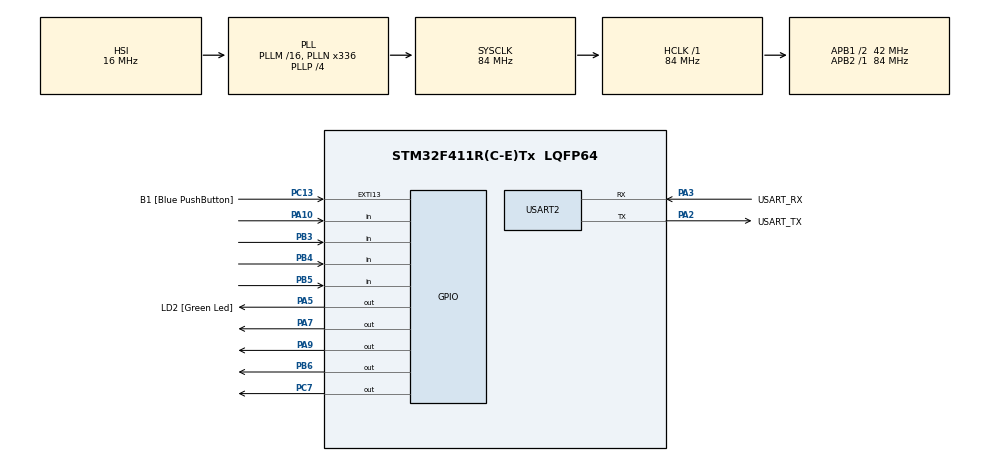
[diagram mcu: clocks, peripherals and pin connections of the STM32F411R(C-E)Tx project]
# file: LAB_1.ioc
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Mcu.Family=STM32F4
Mcu.Name=STM32F411R(C-E)Tx
Mcu.Package=LQFP64
NVIC.PriorityGroup=NVIC_PRIORITYGROUP_0
PA10.Signal=GPIO_Input
PA13.GPIO_Label=TMS
PA13.Mode=Serial_Wire
PA13.Signal=SYS_JTMS-SWDIO
PA14.GPIO_Label=TCK
PA14.Mode=Serial_Wire
PA14.Signal=SYS_JTCK-SWCLK
PA2.GPIO_Label=USART_TX
PA2.Mode=Asynchronous
PA2.Signal=USART2_TX
PA3.GPIO_Label=USART_RX
PA3.Mode=Asynchronous
PA3.Signal=USART2_RX
PA5.GPIO_Label=LD2 [Green Led]
PA5.Signal=GPIO_Output
PA7.Signal=GPIO_Output
PA9.Signal=GPIO_Output
PB3.Signal=GPIO_Input
PB4.Signal=GPIO_Input
PB5.Signal=GPIO_Input
PB6.Signal=GPIO_Output
PC13-ANTI_TAMP.GPIO_Label=B1 [Blue PushButton]
PC13-ANTI_TAMP.GPIO_ModeDefaultEXTI=GPIO_MODE_IT_FALLING
PC13-ANTI_TAMP.Signal=GPXTI13
PC14-OSC32_IN.Mode=LSE-External-Oscillator
PC14-OSC32_IN.Signal=RCC_OSC32_IN
PC15-OSC32_OUT.Mode=LSE-External-Oscillator
PC15-OSC32_OUT.Signal=RCC_OSC32_OUT
PC7.Signal=GPIO_Output
PH0\ -\ OSC_IN.Mode=HSE-External-Clock-Source
PH0\ -\ OSC_IN.Signal=RCC_OSC_IN
PH1\ -\ OSC_OUT.Mode=HSE-External-Clock-Source
PH1\ -\ OSC_OUT.Signal=RCC_OSC_OUT
ProjectManager.HeapSize=0x200
ProjectManager.StackSize=0x400
ProjectManager.TargetToolchain=STM32CubeIDE
RCC.48MHZClocksFreq_Value=84000000
RCC.AHBFreq_Value=84000000
RCC.APB1CLKDivider=RCC_HCLK_DIV2
RCC.APB1Freq_Value=42000000
RCC.APB1TimFreq_Value=84000000
RCC.APB2Freq_Value=84000000
RCC.APB2TimFreq_Value=84000000
RCC.CortexFreq_Value=84000000
RCC.FLatency-AdvancedSettings=FLASH_LATENCY_2
RCC.HCLKFreq_Value=84000000
RCC.HSE_VALUE=8000000
RCC.HSI_VALUE=16000000
RCC.PLLN=336
RCC.PLLP=RCC_PLLP_DIV4
RCC.SYSCLKFreq_VALUE=84000000
RCC.SYSCLKSource=RCC_SYSCLKSOURCE_PLLCLK
RCC.VCOOutputFreq_Value=336000000
USART2.VirtualMode=VM_ASYNC
board=NUCLEO-F411RE

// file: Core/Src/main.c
/* USER CODE BEGIN Header */
/**
  ******************************************************************************
  * @file           : main.c
  * @brief          : Main program body
  ******************************************************************************
  * @attention
  *
  * <h2><center>&copy; Copyright (c) 2021 STMicroelectronics.
  * All rights reserved.</center></h2>
  *
  * This software component is licensed by ST under BSD 3-Clause license,
  * the "License"; You may not use this file except in compliance with the
  * License. You may obtain a copy of the License at:
  *                        opensource.org/licenses/BSD-3-Clause
  *
  ******************************************************************************
  */
/* USER CODE END Header */
#include "main.h"

UART_HandleTypeDef huart2;

void SystemClock_Config(void);
static void MX_GPIO_Init(void);
static void MX_USART2_UART_Init(void);

int main(void)
{

  /* MCU Configuration--------------------------------------------------------*/

  /* Reset of all peripherals, Initializes the Flash interface and the Systick. */
  HAL_Init();

  /* Configure the system clock */
  SystemClock_Config();

  /* Initialize all configured peripherals */
  MX_GPIO_Init();
  MX_USART2_UART_Init();
  /* USER CODE BEGIN 2 */
  GPIO_PinState SwitchState_S1[2] ;
  GPIO_PinState SwitchState_S2[2] ;
  GPIO_PinState SwitchSTate_S3[2] ;
  uint16_t LED_D1	= 0 ;
  uint32_t TimeStamp = 0 ;
  uint32_t ButtonTimestamp = 0;
  uint32_t TimeStamp_on = 0 ;
  //uint32_t TimeStamp_off = 0;
  uint8_t	counte = 1 ;
  uint16_t LED2 = 0;
  uint32_t on = 500 ;
  uint32_t off = 1500;
  uint16_t state= 1 ;
  int b = 0 ;

  /* USER CODE END 2 */

  /* Infinite loop */
  /* USER CODE BEGIN WHILE */
  while (1)
  {
	  //HAL_GPIO_WritePin(GPIOB, GPIO_PIN_6, GPIO_PIN_SET);
	  //b = HAL_GPIO_ReadPin(GPIOB, GPIO_PIN_6) ;
	  //if(HAL_GPIO_ReadPin(GPIOB, GPIO_PIN_6) == GPIO_PIN_SET){HAL_GPIO_WritePin(GPIOB, GPIO_PIN_6, GPIO_PIN_RESET);}
	  //if(HAL_GPIO_ReadPin(GPIOA, GPIO_PIN_7) == GPIO_PIN_RESET){HAL_GPIO_WritePin(GPIOA, GPIO_PIN_7, GPIO_PIN_RESET);}
	  if(HAL_GetTick() - ButtonTimestamp >= 100 )
	  {
		  ButtonTimestamp = HAL_GetTick() ;
		  SwitchState_S1[0] = HAL_GPIO_ReadPin(GPIOA, GPIO_PIN_10); //D1 TAsk 1
		  SwitchState_S2[0] = HAL_GPIO_ReadPin(GPIOB, GPIO_PIN_3);
		  SwitchSTate_S3[0] = HAL_GPIO_ReadPin(GPIOB, GPIO_PIN_5);

		  if(SwitchState_S1[1] == GPIO_PIN_SET && SwitchState_S1[0] == GPIO_PIN_RESET) //ขอบขาขึ้น
		  {
			 if(counte >= 1 && counte < 4){ counte += 1; }
			 else{counte = 1;}
		  }
		  SwitchState_S1[1] = SwitchState_S1[0]; //save state

		  if(SwitchState_S2[1] == GPIO_PIN_SET && SwitchState_S2[0] == GPIO_PIN_RESET) //ชาชี้น S2 TAsk 2
		 	  {

			  	  if(LED2 == 1) {LED2 = 0 ;}
			  	  else{LED2 = 1 ;}
		 	  }
		  SwitchState_S2[1] = SwitchState_S2[0] ;

		  if(SwitchSTate_S3[1] == GPIO_PIN_SET && SwitchSTate_S3[0] == GPIO_PIN_RESET)
		  {
			  if(on == 500 && off == 1500)
			  {
				  on =1500 ;
				  off = 500 ;

			  }
			  else
			  {
				  on = 500 ;
				  off = 1500 ;

			  }
		  }
		  SwitchSTate_S3[1] = SwitchSTate_S3[0] ;
	  }
	  switch (counte)
	  {
		case 1:
			LED_D1 = 1000 ;
			break;
		case 2 :
			LED_D1 = 500 ;
			break;
		case 3 :
			LED_D1 = 250 ;
			break;
		case 4 :
			LED_D1 = 166.666 ;
			break;
	  }
	  if(HAL_GetTick() - TimeStamp >= LED_D1)
	  {
		  TimeStamp = HAL_GetTick() ;
		  if(HAL_GPIO_ReadPin(GPIOA, GPIO_PIN_9) == GPIO_PIN_SET)
		  {
			  HAL_GPIO_WritePin(GPIOA, GPIO_PIN_9, GPIO_PIN_RESET) ;
		  }
		  else
		  {
			  HAL_GPIO_WritePin(GPIOA, GPIO_PIN_9, GPIO_PIN_SET) ;
		  }
	  }

	  /*switch(state)
	  {
	  case 1 :
	  	  HAL_GPIO_WritePin(GPIOB, GPIO_PIN_6, GPIO_PIN_RESET);
	  	  if(HAL_GetTick() - TimeStamp_on >= on )
	  	  {
	  		  TimeStamp_on = HAL_GetTick() ;
	  		  HAL_GPIO_WritePin(GPIOB, GPIO_PIN_6, GPIO_PIN_SET);
	  	  }
	  	  if(HAL_GPIO_ReadPin(GPIOB, GPIO_PIN_6) == GPIO_PIN_SET){state = 2;}
	  	  break ;
	  case 2 :
		  HAL_GPIO_WritePin(GPIOB, GPIO_PIN_6, GPIO_PIN_RESET);
		  if(HAL_GetTick() -TimeStamp_on  >= off )
		 	  {
			  	  TimeStamp_on = HAL_GetTick();
		 		  HAL_GPIO_WritePin(GPIOB, GPIO_PIN_6, GPIO_PIN_SET);
		 	  }
		  if(HAL_GPIO_ReadPin(GPIOB, GPIO_PIN_6) == GPIO_PIN_RESET){state = 1;}
		  break ;
	  }*/

	  if(HAL_GPIO_ReadPin(GPIOB, GPIO_PIN_6) == GPIO_PIN_SET) // 0
	  {
		  //HAL_GPIO_WritePin(GPIOB, GPIO_PIN_6, GPIO_PIN_RESET);
		  	  	  if(HAL_GetTick() - TimeStamp_on >= off )
		  	  	  {

		  	  		  TimeStamp_on = HAL_GetTick() ;
		  	  		  HAL_GPIO_WritePin(GPIOB, GPIO_PIN_6, GPIO_PIN_RESET);

		  	  	  }
	  }
	  if(HAL_GPIO_ReadPin(GPIOB, GPIO_PIN_6) == GPIO_PIN_RESET) //1
	  {
		  //HAL_GPIO_WritePin(GPIOB, GPIO_PIN_6, GPIO_PIN_SET);
		  if(HAL_GetTick() -TimeStamp_on  >= on )
		 		 	  {
		 			  	  TimeStamp_on = HAL_GetTick();
		 		 		  HAL_GPIO_WritePin(GPIOB, GPIO_PIN_6, GPIO_PIN_SET);

		 		 	  }
	  }
	  /*if(HAL_GetTick() - TimeStamp_on >= on )
	  {
		  TimeStamp_on = HAL_GetTick() ;
		  HAL_GPIO_WritePin(GPIOB, GPIO_PIN_6, GPIO_PIN_SET);
		  //if(TimeStamp_on == on ){c=2;}
	  }
	  if(HAL_GetTick() - TimeStamp_off >= off )
	  {
		  TimeStamp_off = HAL_GetTick();
		  HAL_GPIO_WritePin(GPIOB, GPIO_PIN_6, GPIO_PIN_RESET);
		 // if(TimeStamp_off == off){c=1;}
	  }*/

    /* USER CODE END WHILE */
    /* USER CODE BEGIN 3 */
	if(LED2 == 1){HAL_GPIO_WritePin(GPIOC, GPIO_PIN_7, GPIO_PIN_SET);}
	if(LED2 == 0){ HAL_GPIO_WritePin(GPIOC, GPIO_PIN_7, GPIO_PIN_RESET);}
	//HAL_GPIO_WritePin(GPIOB, GPIO_PIN_6, GPIO_PIN_RESET);
  }
  /* USER CODE END 3 */
}

void SystemClock_Config(void)
{
  RCC_OscInitTypeDef RCC_OscInitStruct = {0};
  RCC_ClkInitTypeDef RCC_ClkInitStruct = {0};

  /** Configure the main internal regulator output voltage
  */
  __HAL_RCC_PWR_CLK_ENABLE();
  __HAL_PWR_VOLTAGESCALING_CONFIG(PWR_REGULATOR_VOLTAGE_SCALE1);
  /** Initializes the RCC Oscillators according to the specified parameters
  * in the RCC_OscInitTypeDef structure.
  */
  RCC_OscInitStruct.OscillatorType = RCC_OSCILLATORTYPE_HSI;
  RCC_OscInitStruct.HSIState = RCC_HSI_ON;
  RCC_OscInitStruct.HSICalibrationValue = RCC_HSICALIBRATION_DEFAULT;
  RCC_OscInitStruct.PLL.PLLState = RCC_PLL_ON;
  RCC_OscInitStruct.PLL.PLLSource = RCC_PLLSOURCE_HSI;
  RCC_OscInitStruct.PLL.PLLM = 16;
  RCC_OscInitStruct.PLL.PLLN = 336;
  RCC_OscInitStruct.PLL.PLLP = RCC_PLLP_DIV4;
  RCC_OscInitStruct.PLL.PLLQ = 4;
  if (HAL_RCC_OscConfig(&RCC_OscInitStruct) != HAL_OK)
  {
    Error_Handler();
  }
  /** Initializes the CPU, AHB and APB buses clocks
  */
  RCC_ClkInitStruct.ClockType = RCC_CLOCKTYPE_HCLK|RCC_CLOCKTYPE_SYSCLK
                              |RCC_CLOCKTYPE_PCLK1|RCC_CLOCKTYPE_PCLK2;
  RCC_ClkInitStruct.SYSCLKSource = RCC_SYSCLKSOURCE_PLLCLK;
  RCC_ClkInitStruct.AHBCLKDivider = RCC_SYSCLK_DIV1;
  RCC_ClkInitStruct.APB1CLKDivider = RCC_HCLK_DIV2;
  RCC_ClkInitStruct.APB2CLKDivider = RCC_HCLK_DIV1;

  if (HAL_RCC_ClockConfig(&RCC_ClkInitStruct, FLASH_LATENCY_2) != HAL_OK)
  {
    Error_Handler();
  }
}

static void MX_USART2_UART_Init(void)
{

  huart2.Instance = USART2;
  huart2.Init.BaudRate = 115200;
  huart2.Init.WordLength = UART_WORDLENGTH_8B;
  huart2.Init.StopBits = UART_STOPBITS_1;
  huart2.Init.Parity = UART_PARITY_NONE;
  huart2.Init.Mode = UART_MODE_TX_RX;
  huart2.Init.HwFlowCtl = UART_HWCONTROL_NONE;
  huart2.Init.OverSampling = UART_OVERSAMPLING_16;
  if (HAL_UART_Init(&huart2) != HAL_OK)
  {
    Error_Handler();
  }

}

static void MX_GPIO_Init(void)
{
  GPIO_InitTypeDef GPIO_InitStruct = {0};

  /* GPIO Ports Clock Enable */
  __HAL_RCC_GPIOC_CLK_ENABLE();
  __HAL_RCC_GPIOH_CLK_ENABLE();
  __HAL_RCC_GPIOA_CLK_ENABLE();
  __HAL_RCC_GPIOB_CLK_ENABLE();

  /*Configure GPIO pin Output Level */
  HAL_GPIO_WritePin(GPIOA, LD2_Pin|GPIO_PIN_7|GPIO_PIN_9, GPIO_PIN_RESET);

  /*Configure GPIO pin Output Level */
  HAL_GPIO_WritePin(GPIOC, GPIO_PIN_7, GPIO_PIN_RESET);

  /*Configure GPIO pin Output Level */
  HAL_GPIO_WritePin(GPIOB, GPIO_PIN_6, GPIO_PIN_RESET);

  /*Configure GPIO pin : B1_Pin */
  GPIO_InitStruct.Pin = B1_Pin;
  GPIO_InitStruct.Mode = GPIO_MODE_IT_FALLING;
  GPIO_InitStruct.Pull = GPIO_NOPULL;
  HAL_GPIO_Init(B1_GPIO_Port, &GPIO_InitStruct);

  /*Configure GPIO pins : LD2_Pin PA7 PA9 */
  GPIO_InitStruct.Pin = LD2_Pin|GPIO_PIN_7|GPIO_PIN_9;
  GPIO_InitStruct.Mode = GPIO_MODE_OUTPUT_PP;
  GPIO_InitStruct.Pull = GPIO_NOPULL;
  GPIO_InitStruct.Speed = GPIO_SPEED_FREQ_LOW;
  HAL_GPIO_Init(GPIOA, &GPIO_InitStruct);

  /*Configure GPIO pin : PC7 */
  GPIO_InitStruct.Pin = GPIO_PIN_7;
  GPIO_InitStruct.Mode = GPIO_MODE_OUTPUT_PP;
  GPIO_InitStruct.Pull = GPIO_NOPULL;
  GPIO_InitStruct.Speed = GPIO_SPEED_FREQ_LOW;
  HAL_GPIO_Init(GPIOC, &GPIO_InitStruct);

  /*Configure GPIO pin : PA10 */
  GPIO_InitStruct.Pin = GPIO_PIN_10;
  GPIO_InitStruct.Mode = GPIO_MODE_INPUT;
  GPIO_InitStruct.Pull = GPIO_NOPULL;
  HAL_GPIO_Init(GPIOA, &GPIO_InitStruct);

  /*Configure GPIO pins : PB3 PB4 PB5 */
  GPIO_InitStruct.Pin = GPIO_PIN_3|GPIO_PIN_4|GPIO_PIN_5;
  GPIO_InitStruct.Mode = GPIO_MODE_INPUT;
  GPIO_InitStruct.Pull = GPIO_NOPULL;
  HAL_GPIO_Init(GPIOB, &GPIO_InitStruct);

  /*Configure GPIO pin : PB6 */
  GPIO_InitStruct.Pin = GPIO_PIN_6;
  GPIO_InitStruct.Mode = GPIO_MODE_OUTPUT_PP;
  GPIO_InitStruct.Pull = GPIO_NOPULL;
  GPIO_InitStruct.Speed = GPIO_SPEED_FREQ_LOW;
  HAL_GPIO_Init(GPIOB, &GPIO_InitStruct);

}

void Error_Handler(void)
{
  __disable_irq();
  while (1)
  {
  }
}

/************************ (C) COPYRIGHT STMicroelectronics *****END OF FILE****/
